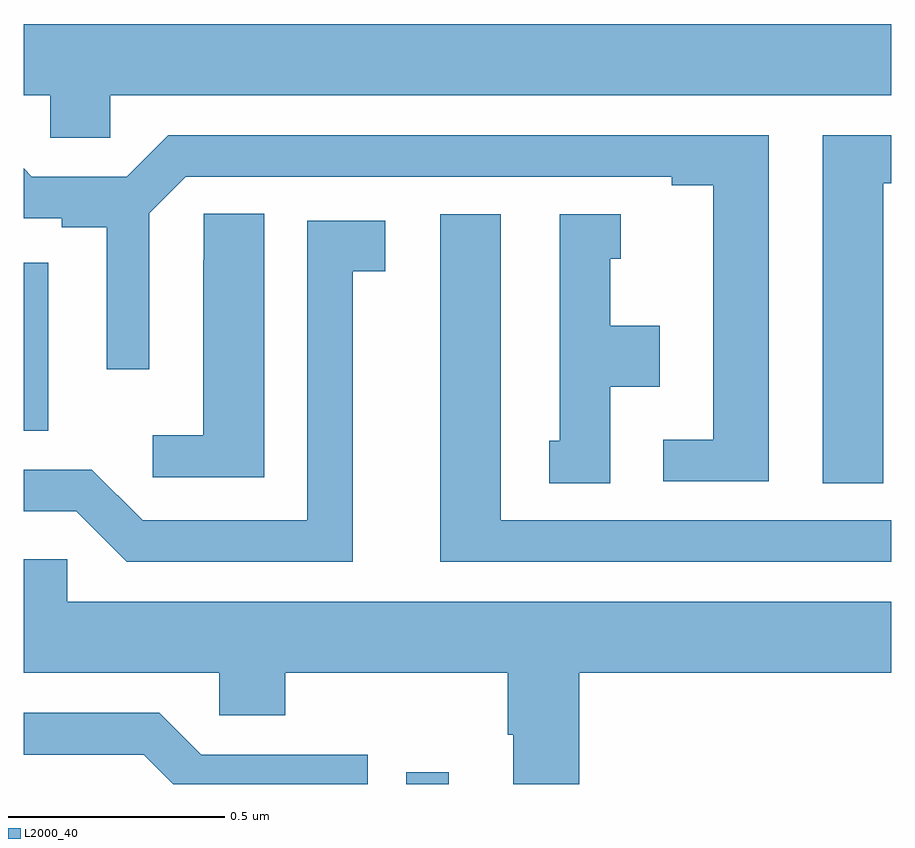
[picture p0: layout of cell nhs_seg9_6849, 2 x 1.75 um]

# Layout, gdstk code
import gdstk
lib = gdstk.Library(unit=1e-6, precision=1e-09)
def R(c, l, rs):  # rectangles x0, y0, x1, y1
    for r in rs: c.add(gdstk.rectangle(r[:2], r[2:], *l))
def P(c, l, *ps):  # polygons
    for p in ps: c.add(gdstk.Polygon(p, *l))
L2000_40 = (2000, 40)

nhs_seg9_6849 = lib.new_cell('nhs_seg9_6849')
R(nhs_seg9_6849, L2000_40, [(197.882,1193.5,197.98,1193.527), (197,1194.314,197.056,1194.702)])
P(nhs_seg9_6849, L2000_40, [(197.199,1195.088),(199,1195.088),(199,1195.252),(197,1195.252),(197,1195.088),(197.061,1195.088),(197.061,1194.99),(197.199,1194.99)],
  [(198.982,1194.885),(199,1194.885),(199,1194.996),(198.842,1194.996),(198.842,1194.193),(198.982,1194.193)],
  [(198.718,1194.996),(197.333,1194.996),(197.237,1194.9),(197.019,1194.9),(197,1194.919),(197,1194.804),(197.088,1194.804),(197.088,1194.784),(197.192,1194.784),(197.192,1194.456),(197.289,1194.456),(197.289,1194.816),(197.373,1194.9),(198.494,1194.9),(198.494,1194.88),(198.59,1194.88),(198.59,1194.294),(198.474,1194.294),(198.474,1194.198),(198.718,1194.198)],
  [(197.554,1194.815),(197.415,1194.815),(197.415,1194.707),(197.414,1194.707),(197.414,1194.304),(197.298,1194.304),(197.298,1194.207),(197.554,1194.207)],
  [(198.352,1194.416),(198.466,1194.416),(198.466,1194.556),(198.352,1194.556),(198.352,1194.711),(198.376,1194.711),(198.376,1194.814),(198.236,1194.814),(198.236,1194.291),(198.212,1194.291),(198.212,1194.193),(198.352,1194.193)],
  [(199,1194.108),(198.1,1194.108),(198.1,1194.814),(197.96,1194.814),(197.96,1194.012),(199,1194.012)],
  [(197.758,1194.682),(197.833,1194.682),(197.833,1194.798),(197.654,1194.798),(197.654,1194.108),(197.274,1194.108),(197.157,1194.225),(197,1194.225),(197,1194.129),(197.121,1194.129),(197.238,1194.012),(197.758,1194.012)],
  [(198.281,1193.756),(199,1193.756),(199,1193.92),(197.1,1193.92),(197.1,1194.018),(197,1194.018),(197,1193.756),(197.451,1193.756),(197.451,1193.658),(197.603,1193.658),(197.603,1193.756),(198.116,1193.756),(198.116,1193.614),(198.128,1193.614),(198.128,1193.5),(198.281,1193.5)],
  [(197.793,1193.568),(197.409,1193.568),(197.313,1193.664),(197,1193.664),(197,1193.568),(197.277,1193.568),(197.345,1193.5),(197.793,1193.5)])

lib.write_gds('nhs_seg9_6849.gds')
